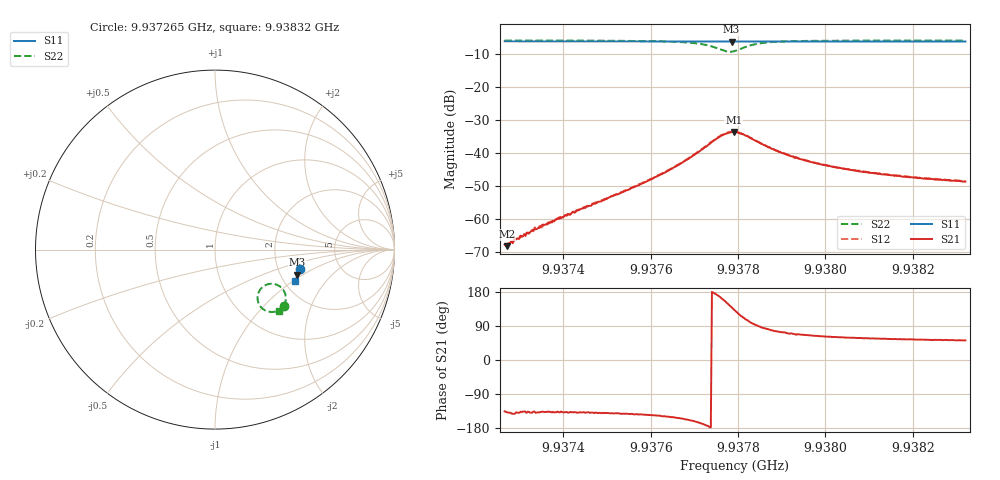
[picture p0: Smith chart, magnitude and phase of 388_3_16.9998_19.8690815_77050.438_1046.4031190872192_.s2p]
#  HZ  S  RI  R  50.00
! Rohde & Schwarz Vector Network Analyzer
! Rohde-Schwarz,ZNB20-2Port,1311601062101988,3.16
! Created: UTC 3/20/2024, 11:09:26 PM
! freq[Hz]  re:S11  im:S11  re:S21  im:S21  re:S12  im:S12  re:S22  im:S22
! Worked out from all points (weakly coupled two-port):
!   401 points, 9.937265 GHz to 9.93832 GHz, reference 50 ohm
!   highest |S21| = -33.69 dB at 9.93779 GHz (marker M1); lowest = -68.2 dB at 9.937271 GHz (marker M2)
!   lowest |S11| = -6.4 dB at 9.937785 GHz (marker M3), VSWR 2.84, Z = 123 - j44.5 ohm
!   |S11| at or under -10 dB: nowhere
!   |S22| runs from -9.5 to -6.1 dB; largest |S21 - S12| = 0.00084
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9.9372654e9  0.4719 -0.106  -0.000294 -0.000288  -0.000302 -0.000251  0.3862 -0.3143
9.9372707e9  0.4719 -0.1062  -0.000287 -0.00026  -0.000302 -0.000273  0.386 -0.3149
9.9372918e9  0.4714 -0.1077  -0.000365 -0.00033  -0.000375 -0.000284  0.3844 -0.3163
9.9373393e9  0.4704 -0.1111  -0.000528 -0.000463  -0.000547 -0.000479  0.3807 -0.3195
9.9373525e9  0.4701 -0.1119  -0.000592 -0.000567  -0.000587 -0.0005  0.3796 -0.3206
9.937392e9  0.4692 -0.1146  -0.000791 -0.00071  -0.000774 -0.000681  0.3762 -0.324
9.9374421e9  0.4683 -0.1179  -0.00107 -0.000961  -0.0011 -0.000942  0.3711 -0.3277
9.9375292e9  0.4664 -0.1239  -0.0019 -0.00152  -0.00193 -0.00154  0.3595 -0.3355
9.9376189e9  0.4642 -0.1298  -0.00381 -0.00247  -0.00393 -0.00244  0.3389 -0.3444
9.9376716e9  0.4627 -0.1332  -0.00637 -0.00304  -0.00654 -0.00295  0.3154 -0.3477
9.9377244e9  0.4607 -0.1367  -0.012 -0.00187  -0.0123 -0.00168  0.2702 -0.3333
9.9377639e9  0.4589 -0.1386  -0.0174 0.00596  -0.0177 0.00647  0.2371 -0.2649
9.937785e9  0.4584 -0.139  -0.0155 0.0134  -0.0153 0.0141  0.2634 -0.2101
9.9377903e9  0.4585 -0.1391  -0.0142 0.0151  -0.0138 0.0158  0.2765 -0.2008
9.9377929e9  0.4586 -0.1391  -0.0132 0.0155  -0.0129 0.0162  0.284 -0.1971
9.937814e9  0.4588 -0.1401  -0.00653 0.0175  -0.00592 0.0179  0.3392 -0.1939
9.9378483e9  0.4588 -0.1427  0.000343 0.0143  0.000597 0.0144  0.3846 -0.2308
9.9378958e9  0.4581 -0.1462  0.00284 0.00988  0.0031 0.0099  0.3945 -0.271
9.9379697e9  0.4564 -0.1512  0.0031 0.00644  0.00324 0.00649  0.3887 -0.3011
9.9380435e9  0.4544 -0.1561  0.0029 0.00489  0.00301 0.00492  0.3811 -0.3162
9.9381464e9  0.4518 -0.1628  0.0026 0.00379  0.00271 0.00378  0.372 -0.3291
9.9383204e9  0.4467 -0.174  0.00227 0.00288  0.00233 0.00286  0.3591 -0.3435
